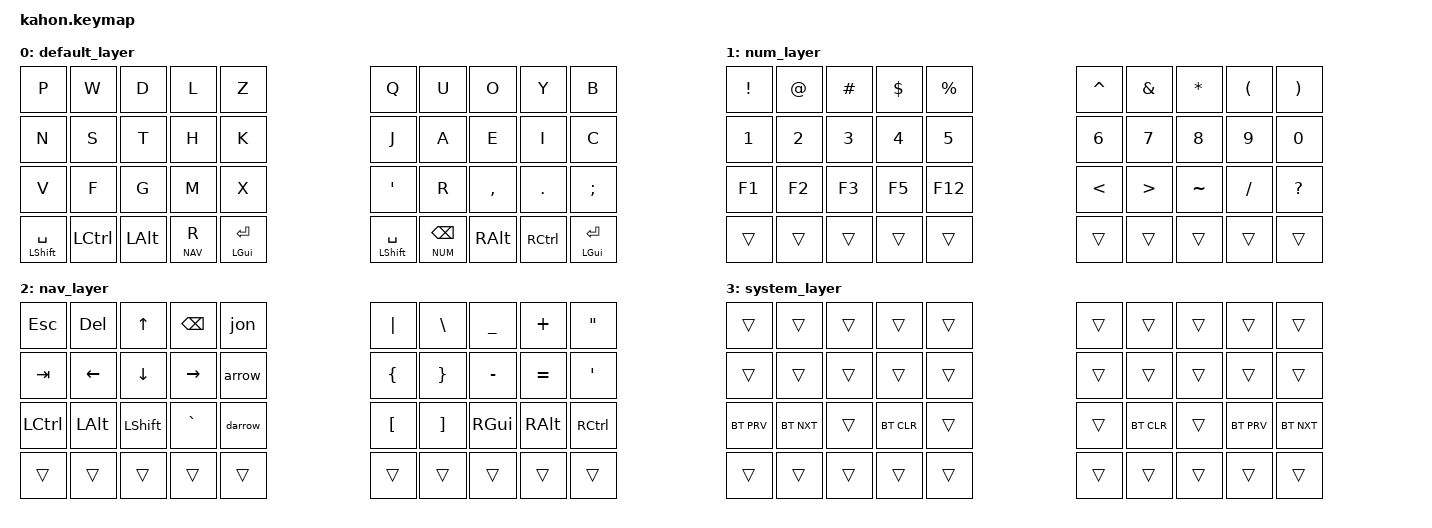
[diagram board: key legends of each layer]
#include <behaviors.dtsi>
#include <dt-bindings/zmk/keys.h>
#include <dt-bindings/zmk/bt.h>

#define AL1 0
#define NUM 1
#define NAV 2
#define SYS 3



/ {

    behaviors {
        hm: homerow_mods {
            compatible = "zmk,behavior-hold-tap";
            #binding-cells = <2>;
            tapping-term-ms = <225>;
            flavor = "tap-preferred";
            bindings = <&kp>, <&kp>;
        };
    };

    combos {
        compatible = "zmk,combos";

        combo_bspc {
            timeout-ms = <50>;
            key-positions = <17 18>;
            bindings = <&kp BSPC>;
        };
    };

    macros {
        jon: jon {
            compatible = "zmk,behavior-macro";
            #binding-cells = <0>;
            bindings
                = <&macro_tap &kp J &kp O &kp N &kp N9 &kp N9 >
                ;
        };
        arrow: arrow {
            compatible = "zmk,behavior-macro";
            #binding-cells = <0>;
            bindings
                = <&macro_tap &kp MINUS &kp GT >
                ;
        };
        darrow: darrow {
            compatible = "zmk,behavior-macro";
            #binding-cells = <0>;
            bindings
                = <&macro_tap &kp EQUAL &kp GT >
                ;
        };
    };

    keymap {
        compatible = "zmk,keymap";

        default_layer {
            bindings = <
                         
                 &kp P    &kp  W    &kp  D   &kp   L     &kp  Z       &kp Q   &kp U   &kp O      &kp Y  &kp B 
                &kp   N   &kp   S    &kp  T   &kp  H     &kp K          &kp J    &kp A  &kp E    &kp I   &kp C 
                &kp  V     &kp F       &kp  G   &kp   M   &kp  X        &kp QUOT   &kp R  &kp COMMA  &kp DOT    &kp SEMI        
                &hm  LSHFT SPACE   &kp LCTRL  &kp  LALT    &lt NAV R   &hm LGUI  RET    &hm  LSHFT SPACE   &lt NUM BSPC  &kp RALT  &kp RCTRL   &hm LGUI  RET
            >;
        };

        num_layer {
            bindings = <
                &kp EXCL   &kp AT   &kp HASH   &kp DOLLAR   &kp PERCENT           &kp CARET   &kp AMPS   &kp STAR   &kp LPAR   &kp RPAR  
                &kp N1   &kp N2   &kp N3   &kp N4   &kp N5                          &kp N6   &kp N7  &kp N8   &kp N9   &kp N0  
                &kp F1   &kp F2   &kp F3   &kp F5   &kp F12                     &kp LT   &kp GT   &kp TILDE   &kp FSLH   &kp QMARK 
                 &trans   &trans  &trans   &trans   &trans                     &trans &trans   &trans &trans   &trans
            >;
        };

        nav_layer {
            bindings = <
                &kp ESC   &kp DEL   &kp UP  &kp BSPC    &jon                &kp PIPE    &kp BSLH  &kp UNDER   &kp PLUS   &kp DQT
                &kp TAB   &kp LEFT   &kp DOWN   &kp RIGHT   &arrow           &kp LBRC   &kp RBRC   &kp MINUS   &kp EQUAL    &kp SQT  
                &kp LCTRL   &kp LALT   &kp LSHFT   &kp GRAVE   &darrow       &kp LBKT   &kp RBKT   &kp RGUI   &kp RALT   &kp RCTRL
                &trans   &trans  &trans   &trans   &trans                     &trans   &trans   &trans   &trans   &trans
            >;
        };

        system_layer {
            bindings = <
                 &trans &trans   &trans  &trans   &trans                     &trans   &trans   &trans   &trans   &trans
                 &trans   &trans  &trans   &trans  &trans                    &trans   &trans   &trans   &trans   &trans
                 &bt BT_PRV  &bt BT_NXT   &trans   &bt BT_CLR   &trans       &trans    &bt BT_CLR    &trans    &bt BT_PRV   &bt BT_NXT  
                 &trans   &trans  &trans   &trans   &trans                   &trans   &trans   &trans   &trans   &trans
            >;
        };
        

    };
};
